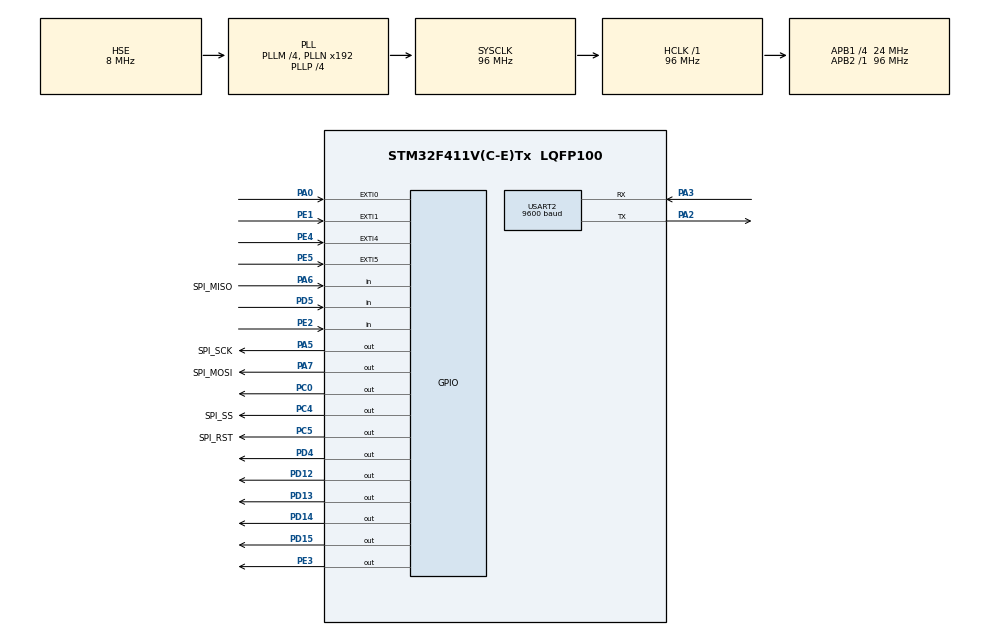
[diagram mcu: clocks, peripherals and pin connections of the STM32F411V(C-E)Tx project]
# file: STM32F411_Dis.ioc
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Mcu.Family=STM32F4
Mcu.Name=STM32F411V(C-E)Tx
Mcu.Package=LQFP100
NVIC.PriorityGroup=NVIC_PRIORITYGROUP_0
PA0-WKUP.GPIO_ModeDefaultEXTI=GPIO_MODE_IT_RISING
PA0-WKUP.GPIO_PuPd=GPIO_NOPULL
PA0-WKUP.Signal=GPXTI0
PA10.GPIO_Mode=GPIO_MODE_AF_PP
PA10.GPIO_PuPd=GPIO_NOPULL
PA10.GPIO_Speed=GPIO_SPEED_FREQ_VERY_HIGH
PA10.Signal=USB_OTG_FS_ID
PA11.GPIO_Mode=GPIO_MODE_AF_PP
PA11.GPIO_PuPd=GPIO_NOPULL
PA11.GPIO_Speed=GPIO_SPEED_FREQ_VERY_HIGH
PA11.Signal=USB_OTG_FS_DM
PA12.GPIO_Mode=GPIO_MODE_AF_PP
PA12.GPIO_PuPd=GPIO_NOPULL
PA12.GPIO_Speed=GPIO_SPEED_FREQ_VERY_HIGH
PA12.Signal=USB_OTG_FS_DP
PA13.Mode=Serial_Wire
PA13.Signal=SYS_JTMS-SWDIO
PA14.Mode=Serial_Wire
PA14.Signal=SYS_JTCK-SWCLK
PA2.Mode=Asynchronous
PA2.Signal=USART2_TX
PA3.Mode=Asynchronous
PA3.Signal=USART2_RX
PA4.GPIO_Mode=GPIO_MODE_AF_PP
PA4.GPIO_PuPd=GPIO_NOPULL
PA4.GPIO_Speed=GPIO_SPEED_FREQ_LOW
PA4.Signal=I2S3_WS
PA5.GPIO_Label=SPI_SCK
PA5.GPIO_ModeDefaultOutputPP=GPIO_MODE_OUTPUT_PP
PA5.GPIO_PuPd=GPIO_PULLUP
PA5.GPIO_Speed=GPIO_SPEED_FREQ_VERY_HIGH
PA5.PinState=GPIO_PIN_RESET
PA5.Signal=GPIO_Output
PA6.GPIO_Label=SPI_MISO
PA6.GPIO_PuPd=GPIO_PULLUP
PA6.Signal=GPIO_Input
PA7.GPIO_Label=SPI_MOSI
PA7.Signal=GPIO_Output
PA9.GPIO_Mode=GPIO_MODE_INPUT
PA9.GPIO_PuPd=GPIO_NOPULL
PA9.Signal=USB_OTG_FS_VBUS
PB10.GPIO_Mode=GPIO_MODE_AF_PP
PB10.GPIO_PuPd=GPIO_NOPULL
PB10.GPIO_Speed=GPIO_SPEED_FREQ_LOW
PB10.Signal=I2S2_CK
PB12.Signal=I2S2_WS
PB3.Signal=SYS_JTDO-SWO
PB6.GPIO_Mode=GPIO_MODE_AF_OD
PB6.GPIO_PuPd=GPIO_NOPULL
PB6.GPIO_PuPdOD=GPIO_PULLUP
PB6.GPIO_Speed=GPIO_SPEED_FREQ_VERY_HIGH
PB6.Signal=I2C1_SCL
PB9.GPIO_Mode=GPIO_MODE_AF_OD
PB9.GPIO_PuPd=GPIO_NOPULL
PB9.GPIO_PuPdOD=GPIO_PULLUP
PB9.GPIO_Speed=GPIO_SPEED_FREQ_VERY_HIGH
PB9.Signal=I2C1_SDA
PC0.GPIO_ModeDefaultOutputPP=GPIO_MODE_OUTPUT_PP
PC0.GPIO_PuPd=GPIO_NOPULL
PC0.GPIO_Speed=GPIO_SPEED_FREQ_LOW
PC0.PinState=GPIO_PIN_RESET
PC0.Signal=GPIO_Output
PC10.GPIO_Mode=GPIO_MODE_AF_PP
PC10.GPIO_PuPd=GPIO_NOPULL
PC10.GPIO_Speed=GPIO_SPEED_FREQ_LOW
PC10.Signal=I2S3_CK
PC12.GPIO_Mode=GPIO_MODE_AF_PP
PC12.GPIO_PuPd=GPIO_NOPULL
PC12.GPIO_Speed=GPIO_SPEED_FREQ_LOW
PC12.Signal=I2S3_SD
PC14-OSC32_IN.Mode=LSE-External-Oscillator
PC14-OSC32_IN.Signal=RCC_OSC32_IN
PC15-OSC32_OUT.Mode=LSE-External-Oscillator
PC15-OSC32_OUT.Signal=RCC_OSC32_OUT
PC3.GPIO_Mode=GPIO_MODE_AF_PP
PC3.GPIO_PuPd=GPIO_NOPULL
PC3.GPIO_Speed=GPIO_SPEED_FREQ_LOW
PC3.Signal=I2S2_SD
PC4.GPIO_Label=SPI_SS
PC4.GPIO_ModeDefaultOutputPP=GPIO_MODE_OUTPUT_PP
PC4.GPIO_PuPd=GPIO_PULLUP
PC4.GPIO_Speed=GPIO_SPEED_FREQ_VERY_HIGH
PC4.PinState=GPIO_PIN_RESET
PC4.Signal=GPIO_Output
PC5.GPIO_Label=SPI_RST
PC5.GPIO_ModeDefaultOutputPP=GPIO_MODE_OUTPUT_PP
PC5.GPIO_PuPd=GPIO_PULLUP
PC5.GPIO_Speed=GPIO_SPEED_FREQ_VERY_HIGH
PC5.PinState=GPIO_PIN_RESET
PC5.Signal=GPIO_Output
PC7.GPIO_Mode=GPIO_MODE_AF_PP
PC7.GPIO_PuPd=GPIO_NOPULL
PC7.GPIO_Speed=GPIO_SPEED_FREQ_LOW
PC7.Signal=I2S3_MCK
PD12.GPIO_ModeDefaultOutputPP=GPIO_MODE_OUTPUT_PP
PD12.GPIO_PuPd=GPIO_NOPULL
PD12.GPIO_Speed=GPIO_SPEED_FREQ_LOW
PD12.PinState=GPIO_PIN_RESET
PD12.Signal=GPIO_Output
PD13.GPIO_ModeDefaultOutputPP=GPIO_MODE_OUTPUT_PP
PD13.GPIO_PuPd=GPIO_NOPULL
PD13.GPIO_Speed=GPIO_SPEED_FREQ_LOW
PD13.PinState=GPIO_PIN_RESET
PD13.Signal=GPIO_Output
PD14.GPIO_ModeDefaultOutputPP=GPIO_MODE_OUTPUT_PP
PD14.GPIO_PuPd=GPIO_NOPULL
PD14.GPIO_Speed=GPIO_SPEED_FREQ_LOW
PD14.PinState=GPIO_PIN_RESET
PD14.Signal=GPIO_Output
PD15.GPIO_ModeDefaultOutputPP=GPIO_MODE_OUTPUT_PP
PD15.GPIO_PuPd=GPIO_NOPULL
PD15.GPIO_Speed=GPIO_SPEED_FREQ_LOW
PD15.PinState=GPIO_PIN_RESET
PD15.Signal=GPIO_Output
PD4.GPIO_ModeDefaultOutputPP=GPIO_MODE_OUTPUT_PP
PD4.GPIO_PuPd=GPIO_NOPULL
PD4.GPIO_Speed=GPIO_SPEED_FREQ_LOW
PD4.PinState=GPIO_PIN_RESET
PD4.Signal=GPIO_Output
PD5.GPIO_Mode=GPIO_MODE_INPUT
PD5.GPIO_PuPd=GPIO_NOPULL
PD5.Signal=GPIO_Input
PE1.GPIO_ModeDefaultEXTI=GPIO_MODE_IT_RISING
PE1.GPIO_PuPd=GPIO_NOPULL
PE1.Signal=GPXTI1
PE2.GPIO_Mode=GPIO_MODE_INPUT
PE2.GPIO_PuPd=GPIO_NOPULL
PE2.Signal=GPIO_Input
PE3.GPIO_ModeDefaultOutputPP=GPIO_MODE_OUTPUT_PP
PE3.GPIO_PuPd=GPIO_NOPULL
PE3.GPIO_Speed=GPIO_SPEED_FREQ_LOW
PE3.PinState=GPIO_PIN_RESET
PE3.Signal=GPIO_Output
PE4.GPIO_ModeDefaultEXTI=GPIO_MODE_IT_RISING
PE4.GPIO_PuPd=GPIO_NOPULL
PE4.Signal=GPXTI4
PE5.GPIO_ModeDefaultEXTI=GPIO_MODE_IT_RISING
PE5.GPIO_PuPd=GPIO_NOPULL
PE5.Signal=GPXTI5
PH0\ -\ OSC_IN.Mode=HSE-External-Clock-Source
PH0\ -\ OSC_IN.Signal=RCC_OSC_IN
PH1\ -\ OSC_OUT.Mode=HSE-External-Clock-Source
PH1\ -\ OSC_OUT.Signal=RCC_OSC_OUT
ProjectManager.HeapSize=0x200
ProjectManager.StackSize=0x400
ProjectManager.TargetToolchain=MDK-ARM V5
RCC.48MHZClocksFreq_Value=48000000
RCC.AHBFreq_Value=96000000
RCC.APB1CLKDivider=RCC_HCLK_DIV4
RCC.APB1Freq_Value=24000000
RCC.APB1TimFreq_Value=48000000
RCC.APB2Freq_Value=96000000
RCC.APB2TimFreq_Value=96000000
RCC.CortexFreq_Value=96000000
RCC.HCLKFreq_Value=96000000
RCC.HSE_VALUE=8000000
RCC.HSI_VALUE=16000000
RCC.PLLI2SM=5
RCC.PLLI2SN=200
RCC.PLLM=4
RCC.PLLP=RCC_PLLP_DIV4
RCC.PLLQ=8
RCC.PLLSourceVirtual=RCC_PLLSOURCE_HSE
RCC.SYSCLKFreq_VALUE=96000000
RCC.SYSCLKSource=RCC_SYSCLKSOURCE_PLLCLK
RCC.VCOOutputFreq_Value=384000000
USART2.BaudRate=9600
USART2.VirtualMode=VM_ASYNC
board=STM32F411E-DISCO

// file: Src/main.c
/* USER CODE BEGIN Header */
/**
  ******************************************************************************
  * @file           : main.c
  * @brief          : Main program body
  ******************************************************************************
  * @attention
  *
  * <h2><center>&copy; Copyright (c) 2020 STMicroelectronics.
  * All rights reserved.</center></h2>
  *
  * This software component is licensed by ST under Ultimate Liberty license
  * SLA0044, the "License"; You may not use this file except in compliance with
  * the License. You may obtain a copy of the License at:
  *                             www.st.com/SLA0044
  *
  ******************************************************************************
  */
/* USER CODE END Header */

#include "main.h"

/* USER CODE BEGIN Includes */
#include <string.h>
#include <stdio.h>
#include "pRF.h"
/* USER CODE END Includes */

UART_HandleTypeDef huart2;

void SystemClock_Config(void);
static void MX_GPIO_Init(void);
static void MX_USART2_UART_Init(void);

/* USER CODE BEGIN 0 */
void UART_SendString(char * str)
{
	char TempSend[100];
	sprintf(TempSend, "%s\r\n", str);
	HAL_UART_Transmit(&huart2, (uint8_t *)TempSend, strlen(TempSend), 1000);
}
/* USER CODE END 0 */

int main(void)
{

  /* MCU Configuration--------------------------------------------------------*/

  /* Reset of all peripherals, Initializes the Flash interface and the Systick. */
  HAL_Init();

  /* Configure the system clock */
  SystemClock_Config();

  /* Initialize all configured peripherals */
  MX_GPIO_Init();
  MX_USART2_UART_Init();

  /* Infinite loop */
  /* USER CODE BEGIN WHILE */
  UART_SendString("Hello");
  PrfInit();
  uint8_t ReadDT[10];
  char TempSend[200];

  HAL_Delay(1000);
  PrfWrRegPtr_U16(PRF_TX_RX_CH, 0x0000);	//Off Tx, Rx
  PrfWrRegPtr_U16(PRF_FIFO_PTR, 0x8080);	//Clear FIFO
  //PrfWrRegPtr_U16(PRF_TX_RX_CH, 0x0087);	//Rx = 2409
  //PrfWrRegPtr_U16(PRF_TX_RX_CH, 0x00A0);	//Rx = 2434
  PrfWrRegPtr_U16(PRF_TX_RX_CH, 0x00C2);	//Rx = 2468
  PrfRdRegPtr(PRF_TX_RX_CH, ReadDT, 2);
  //sprintf(TempSend, "ReadDT %02X: %02X %02X", PRF_TX_RX_CH, ReadDT[0], ReadDT[1]);
  //UART_SendString(TempSend);

  while (1)
  {
		for(int i = 0; i<3000; i++);

		PrfRdRegPtr(PRF_STATUS, ReadDT, 2);
		if((ReadDT[1] & 0x40) != 0)
		{
			PrfWrRegPtr_U16(PRF_TX_RX_CH, 0x0000);	//Off Tx, Rx
			if(((ReadDT[0] & 0x80) == 0) && ((ReadDT[0] & 0x3F) == 1))
			{
//				sprintf(TempSend, "ReadDT %02X: %02X %02X", PRF_STATUS, ReadDT[0], ReadDT[1]);
//				sprintf(TempSend, "%s\n CRC: %02X",        TempSend, ReadDT[0] & 0x80);
//				sprintf(TempSend, "%s\n FRAME: %02X", TempSend, ReadDT[0] & 0x3F);
//				sprintf(TempSend, "%s\n SyncW: %02X", TempSend, ReadDT[1] & 0x80);
//				sprintf(TempSend, "%s\n PKT  : %02X", TempSend, ReadDT[1] & 0x40);
//				sprintf(TempSend, "%s\n FIFO : %02X", TempSend, ReadDT[1] & 0x20);
//				UART_SendString(TempSend);

				PrfRdRegPtr(PRF_FIFO_DAT, ReadDT, 6);
//				sprintf(TempSend, "%s\nReadDT %02X: %02X %02X %02X %02X %02X", TempSend, PRF_FIFO_DAT, ReadDT[0], ReadDT[1], ReadDT[2], ReadDT[3], ReadDT[4]);
				sprintf(TempSend, "Remote: %02X %02X %02X %02X %02X %02X", ReadDT[0], ReadDT[1], ReadDT[2], ReadDT[3], ReadDT[4], ReadDT[5]);
				UART_SendString(TempSend);
			}

			PrfWrRegPtr_U16(PRF_FIFO_PTR, 0x8080);	//Clear FIFO
			PrfWrRegPtr_U16(PRF_TX_RX_CH, 0x00C2);	//Rx = 2468
			PrfRdRegPtr(PRF_TX_RX_CH, ReadDT, 2);
		}

//		sprintf(TempSend, "ReadDT %02X: %02X %02X", PRF_STATUS, ReadDT[0], ReadDT[1]);
//		sprintf(TempSend, "%s\n CRC: %02X",        TempSend, ReadDT[0] & 0x80);
//		sprintf(TempSend, "%s\n FRAME: %02X", TempSend, ReadDT[0] & 0x3F);
//		sprintf(TempSend, "%s\n SyncW: %02X", TempSend, ReadDT[1] & 0x80);
//		sprintf(TempSend, "%s\n PKT  : %02X", TempSend, ReadDT[1] & 0x40);
//		sprintf(TempSend, "%s\n FIFO : %02X", TempSend, ReadDT[1] & 0x20);
//		UART_SendString(TempSend);

    /* USER CODE END WHILE */

  }
}

void SystemClock_Config(void)
{
  RCC_OscInitTypeDef RCC_OscInitStruct = {0};
  RCC_ClkInitTypeDef RCC_ClkInitStruct = {0};

  /** Configure the main internal regulator output voltage
  */
  __HAL_RCC_PWR_CLK_ENABLE();
  __HAL_PWR_VOLTAGESCALING_CONFIG(PWR_REGULATOR_VOLTAGE_SCALE1);
  /** Initializes the CPU, AHB and APB busses clocks
  */
  RCC_OscInitStruct.OscillatorType = RCC_OSCILLATORTYPE_HSE;
  RCC_OscInitStruct.HSEState = RCC_HSE_BYPASS;
  RCC_OscInitStruct.PLL.PLLState = RCC_PLL_ON;
  RCC_OscInitStruct.PLL.PLLSource = RCC_PLLSOURCE_HSE;
  RCC_OscInitStruct.PLL.PLLM = 4;
  RCC_OscInitStruct.PLL.PLLN = 192;
  RCC_OscInitStruct.PLL.PLLP = RCC_PLLP_DIV4;
  RCC_OscInitStruct.PLL.PLLQ = 8;
  if (HAL_RCC_OscConfig(&RCC_OscInitStruct) != HAL_OK)
  {
    Error_Handler();
  }
  /** Initializes the CPU, AHB and APB busses clocks
  */
  RCC_ClkInitStruct.ClockType = RCC_CLOCKTYPE_HCLK|RCC_CLOCKTYPE_SYSCLK
                              |RCC_CLOCKTYPE_PCLK1|RCC_CLOCKTYPE_PCLK2;
  RCC_ClkInitStruct.SYSCLKSource = RCC_SYSCLKSOURCE_PLLCLK;
  RCC_ClkInitStruct.AHBCLKDivider = RCC_SYSCLK_DIV1;
  RCC_ClkInitStruct.APB1CLKDivider = RCC_HCLK_DIV4;
  RCC_ClkInitStruct.APB2CLKDivider = RCC_HCLK_DIV1;

  if (HAL_RCC_ClockConfig(&RCC_ClkInitStruct, FLASH_LATENCY_3) != HAL_OK)
  {
    Error_Handler();
  }
}

static void MX_USART2_UART_Init(void)
{

  huart2.Instance = USART2;
  huart2.Init.BaudRate = 9600;
  huart2.Init.WordLength = UART_WORDLENGTH_8B;
  huart2.Init.StopBits = UART_STOPBITS_1;
  huart2.Init.Parity = UART_PARITY_NONE;
  huart2.Init.Mode = UART_MODE_TX_RX;
  huart2.Init.HwFlowCtl = UART_HWCONTROL_NONE;
  huart2.Init.OverSampling = UART_OVERSAMPLING_16;
  if (HAL_UART_Init(&huart2) != HAL_OK)
  {
    Error_Handler();
  }

}

static void MX_GPIO_Init(void)
{
  GPIO_InitTypeDef GPIO_InitStruct = {0};

  /* GPIO Ports Clock Enable */
  __HAL_RCC_GPIOE_CLK_ENABLE();
  __HAL_RCC_GPIOC_CLK_ENABLE();
  __HAL_RCC_GPIOH_CLK_ENABLE();
  __HAL_RCC_GPIOA_CLK_ENABLE();
  __HAL_RCC_GPIOB_CLK_ENABLE();
  __HAL_RCC_GPIOD_CLK_ENABLE();

  /*Configure GPIO pin Output Level */
  HAL_GPIO_WritePin(GPIOE, GPIO_PIN_3, GPIO_PIN_RESET);

  /*Configure GPIO pin Output Level */
  HAL_GPIO_WritePin(GPIOC, GPIO_PIN_0|SPI_SS_Pin|SPI_RST_Pin, GPIO_PIN_RESET);

  /*Configure GPIO pin Output Level */
  HAL_GPIO_WritePin(GPIOA, SPI_SCK_Pin|SPI_MOSI_Pin, GPIO_PIN_RESET);

  /*Configure GPIO pin Output Level */
  HAL_GPIO_WritePin(GPIOD, GPIO_PIN_12|GPIO_PIN_13|GPIO_PIN_14|GPIO_PIN_15
                          |GPIO_PIN_4, GPIO_PIN_RESET);

  /*Configure GPIO pin : PE2 */
  GPIO_InitStruct.Pin = GPIO_PIN_2;
  GPIO_InitStruct.Mode = GPIO_MODE_INPUT;
  GPIO_InitStruct.Pull = GPIO_NOPULL;
  HAL_GPIO_Init(GPIOE, &GPIO_InitStruct);

  /*Configure GPIO pin : PE3 */
  GPIO_InitStruct.Pin = GPIO_PIN_3;
  GPIO_InitStruct.Mode = GPIO_MODE_OUTPUT_PP;
  GPIO_InitStruct.Pull = GPIO_NOPULL;
  GPIO_InitStruct.Speed = GPIO_SPEED_FREQ_LOW;
  HAL_GPIO_Init(GPIOE, &GPIO_InitStruct);

  /*Configure GPIO pins : PE4 PE5 PE1 */
  GPIO_InitStruct.Pin = GPIO_PIN_4|GPIO_PIN_5|GPIO_PIN_1;
  GPIO_InitStruct.Mode = GPIO_MODE_IT_RISING;
  GPIO_InitStruct.Pull = GPIO_NOPULL;
  HAL_GPIO_Init(GPIOE, &GPIO_InitStruct);

  /*Configure GPIO pin : PC0 */
  GPIO_InitStruct.Pin = GPIO_PIN_0;
  GPIO_InitStruct.Mode = GPIO_MODE_OUTPUT_PP;
  GPIO_InitStruct.Pull = GPIO_NOPULL;
  GPIO_InitStruct.Speed = GPIO_SPEED_FREQ_LOW;
  HAL_GPIO_Init(GPIOC, &GPIO_InitStruct);

  /*Configure GPIO pin : PC3 */
  GPIO_InitStruct.Pin = GPIO_PIN_3;
  GPIO_InitStruct.Mode = GPIO_MODE_AF_PP;
  GPIO_InitStruct.Pull = GPIO_NOPULL;
  GPIO_InitStruct.Speed = GPIO_SPEED_FREQ_LOW;
  GPIO_InitStruct.Alternate = GPIO_AF5_SPI2;
  HAL_GPIO_Init(GPIOC, &GPIO_InitStruct);

  /*Configure GPIO pin : PA0 */
  GPIO_InitStruct.Pin = GPIO_PIN_0;
  GPIO_InitStruct.Mode = GPIO_MODE_IT_RISING;
  GPIO_InitStruct.Pull = GPIO_NOPULL;
  HAL_GPIO_Init(GPIOA, &GPIO_InitStruct);

  /*Configure GPIO pin : PA4 */
  GPIO_InitStruct.Pin = GPIO_PIN_4;
  GPIO_InitStruct.Mode = GPIO_MODE_AF_PP;
  GPIO_InitStruct.Pull = GPIO_NOPULL;
  GPIO_InitStruct.Speed = GPIO_SPEED_FREQ_LOW;
  GPIO_InitStruct.Alternate = GPIO_AF6_SPI3;
  HAL_GPIO_Init(GPIOA, &GPIO_InitStruct);

  /*Configure GPIO pin : SPI_SCK_Pin */
  GPIO_InitStruct.Pin = SPI_SCK_Pin;
  GPIO_InitStruct.Mode = GPIO_MODE_OUTPUT_PP;
  GPIO_InitStruct.Pull = GPIO_PULLUP;
  GPIO_InitStruct.Speed = GPIO_SPEED_FREQ_VERY_HIGH;
  HAL_GPIO_Init(SPI_SCK_GPIO_Port, &GPIO_InitStruct);

  /*Configure GPIO pin : SPI_MISO_Pin */
  GPIO_InitStruct.Pin = SPI_MISO_Pin;
  GPIO_InitStruct.Mode = GPIO_MODE_INPUT;
  GPIO_InitStruct.Pull = GPIO_PULLUP;
  HAL_GPIO_Init(SPI_MISO_GPIO_Port, &GPIO_InitStruct);

  /*Configure GPIO pin : SPI_MOSI_Pin */
  GPIO_InitStruct.Pin = SPI_MOSI_Pin;
  GPIO_InitStruct.Mode = GPIO_MODE_OUTPUT_PP;
  GPIO_InitStruct.Pull = GPIO_NOPULL;
  GPIO_InitStruct.Speed = GPIO_SPEED_FREQ_LOW;
  HAL_GPIO_Init(SPI_MOSI_GPIO_Port, &GPIO_InitStruct);

  /*Configure GPIO pins : SPI_SS_Pin SPI_RST_Pin */
  GPIO_InitStruct.Pin = SPI_SS_Pin|SPI_RST_Pin;
  GPIO_InitStruct.Mode = GPIO_MODE_OUTPUT_PP;
  GPIO_InitStruct.Pull = GPIO_PULLUP;
  GPIO_InitStruct.Speed = GPIO_SPEED_FREQ_VERY_HIGH;
  HAL_GPIO_Init(GPIOC, &GPIO_InitStruct);

  /*Configure GPIO pins : PB10 PB12 */
  GPIO_InitStruct.Pin = GPIO_PIN_10|GPIO_PIN_12;
  GPIO_InitStruct.Mode = GPIO_MODE_AF_PP;
  GPIO_InitStruct.Pull = GPIO_NOPULL;
  GPIO_InitStruct.Speed = GPIO_SPEED_FREQ_LOW;
  GPIO_InitStruct.Alternate = GPIO_AF5_SPI2;
  HAL_GPIO_Init(GPIOB, &GPIO_InitStruct);

  /*Configure GPIO pins : PD12 PD13 PD14 PD15
                           PD4 */
  GPIO_InitStruct.Pin = GPIO_PIN_12|GPIO_PIN_13|GPIO_PIN_14|GPIO_PIN_15
                          |GPIO_PIN_4;
  GPIO_InitStruct.Mode = GPIO_MODE_OUTPUT_PP;
  GPIO_InitStruct.Pull = GPIO_NOPULL;
  GPIO_InitStruct.Speed = GPIO_SPEED_FREQ_LOW;
  HAL_GPIO_Init(GPIOD, &GPIO_InitStruct);

  /*Configure GPIO pins : PC7 PC10 PC12 */
  GPIO_InitStruct.Pin = GPIO_PIN_7|GPIO_PIN_10|GPIO_PIN_12;
  GPIO_InitStruct.Mode = GPIO_MODE_AF_PP;
  GPIO_InitStruct.Pull = GPIO_NOPULL;
  GPIO_InitStruct.Speed = GPIO_SPEED_FREQ_LOW;
  GPIO_InitStruct.Alternate = GPIO_AF6_SPI3;
  HAL_GPIO_Init(GPIOC, &GPIO_InitStruct);

  /*Configure GPIO pin : PA9 */
  GPIO_InitStruct.Pin = GPIO_PIN_9;
  GPIO_InitStruct.Mode = GPIO_MODE_INPUT;
  GPIO_InitStruct.Pull = GPIO_NOPULL;
  HAL_GPIO_Init(GPIOA, &GPIO_InitStruct);

  /*Configure GPIO pins : PA10 PA11 PA12 */
  GPIO_InitStruct.Pin = GPIO_PIN_10|GPIO_PIN_11|GPIO_PIN_12;
  GPIO_InitStruct.Mode = GPIO_MODE_AF_PP;
  GPIO_InitStruct.Pull = GPIO_NOPULL;
  GPIO_InitStruct.Speed = GPIO_SPEED_FREQ_VERY_HIGH;
  GPIO_InitStruct.Alternate = GPIO_AF10_OTG_FS;
  HAL_GPIO_Init(GPIOA, &GPIO_InitStruct);

  /*Configure GPIO pin : PD5 */
  GPIO_InitStruct.Pin = GPIO_PIN_5;
  GPIO_InitStruct.Mode = GPIO_MODE_INPUT;
  GPIO_InitStruct.Pull = GPIO_NOPULL;
  HAL_GPIO_Init(GPIOD, &GPIO_InitStruct);

  /*Configure GPIO pins : PB6 PB9 */
  GPIO_InitStruct.Pin = GPIO_PIN_6|GPIO_PIN_9;
  GPIO_InitStruct.Mode = GPIO_MODE_AF_OD;
  GPIO_InitStruct.Pull = GPIO_PULLUP;
  GPIO_InitStruct.Speed = GPIO_SPEED_FREQ_VERY_HIGH;
  GPIO_InitStruct.Alternate = GPIO_AF4_I2C1;
  HAL_GPIO_Init(GPIOB, &GPIO_InitStruct);

}

void Error_Handler(void)
{
}

/************************ (C) COPYRIGHT STMicroelectronics *****END OF FILE****/
